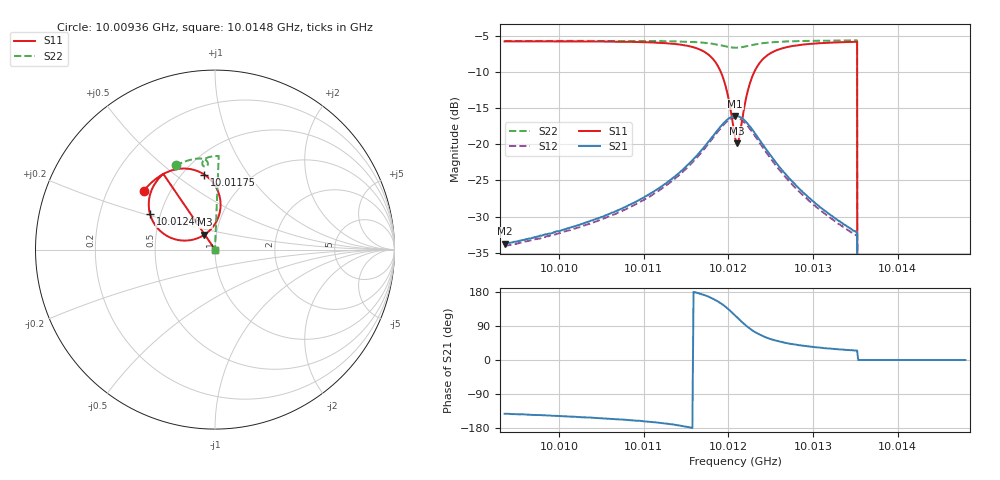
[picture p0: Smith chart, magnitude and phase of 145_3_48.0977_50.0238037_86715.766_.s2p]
#  HZ  S  RI  R  50.00
! Rohde & Schwarz Vector Network Analyzer
! Rohde-Schwarz,ZNB20-2Port,1311601062101988,3.16
! Created: UTC 12/23/2023, 3:49:12 AM
! freq[Hz]  re:S11  im:S11  re:S21  im:S21  re:S12  im:S12  re:S22  im:S22
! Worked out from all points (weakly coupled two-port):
!   401 points, 10.00936 GHz to 10.0148 GHz, reference 50 ohm
!   highest |S21| = -16.07 dB at 10.01208 GHz (marker M1); lowest = -33.7 dB at 10.00936 GHz (marker M2)
!   lowest |S11| = -19.9 dB at 10.0121 GHz (marker M3), VSWR 1.23, Z = 43.8 + j7.31 ohm
!   |S11| at or under -10 dB: 10.01191 GHz to 10.01231 GHz (394.9 kHz wide, 0.00394 % of centre); 10.01352 GHz to end of sweep
!   |S22| runs from - to -5.6 dB; largest |S21 - S12| = 0.0077
!   S11 on the Smith chart (normalised r, x): 10.00936 GHz: 0.36, +0.32; 10.01175 GHz: 0.63, +0.64; 10.01246 GHz: 0.44, +0.21; 10.0148 GHz: 1.00, +0.00
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1.0009358e10  -0.3978 0.3262  -0.0162 -0.0127  -0.0149 -0.013  -0.2199 0.4686
1.0010269e10  -0.3431 0.3833  -0.0247 -0.0136  -0.023 -0.0143  -0.1637 0.4921
1.0010745e10  -0.3014 0.4137  -0.033 -0.014  -0.0313 -0.0149  -0.1319 0.5013
1.001118e10  -0.2427 0.4407  -0.0481 -0.0123  -0.0457 -0.0144  -0.1003 0.5069
1.0011493e10  -0.1688 0.4517  -0.0693 -0.00509  -0.0665 -0.00879  -0.0744 0.507
1.0011751e10  -0.0601 0.4181  -0.0998 0.0204  -0.0976 0.0147  -0.0502 0.4981
1.001186e10  -0.00164 0.3597  -0.1125 0.0489  -0.1118 0.0417  -0.0415 0.488
1.0011942e10  0.0287 0.2812  -0.1141 0.0807  -0.1146 0.0735  -0.0394 0.4773
1.0011996e10  0.0276 0.2124  -0.1054 0.1062  -0.107 0.0994  -0.0416 0.4697
1.0012078e10  -0.0273 0.1086  -0.073 0.1392  -0.0762 0.1327  -0.0514 0.4624
1.0012105e10  -0.0594 0.0825  -0.0582 0.1455  -0.0616 0.1396  -0.0558 0.4621
1.0012132e10  -0.0958 0.0637  -0.043 0.1487  -0.0465 0.1431  -0.06 0.4629
1.0012187e10  -0.1729 0.0499  -0.0125 0.1464  -0.0169 0.1411  -0.0668 0.4677
1.0012268e10  -0.269 0.0771  0.0219 0.1278  0.0166 0.1235  -0.0711 0.4785
1.001235e10  -0.3279 0.1291  0.0392 0.104  0.0343 0.1005  -0.0693 0.4893
1.0012458e10  -0.3618 0.1975  0.0472 0.0766  0.0421 0.0749  -0.0622 0.5001
1.001269e10  -0.3643 0.2961  0.0434 0.0426  0.0392 0.0425  -0.0425 0.5125
1.0012989e10  -0.3373 0.3634  0.0336 0.0231  0.0308 0.0236  -0.0183 0.5187
1.0013492e10  -0.2907 0.4199  0.0227 0.0106  0.021 0.0112  0.0188 0.5217
1.001356e10  0 0  0 0  0 0  0 0
1.00139e10  0 0  0 0  0 0  0 0
1.0014797e10  0 0  0 0  0 0  0 0
